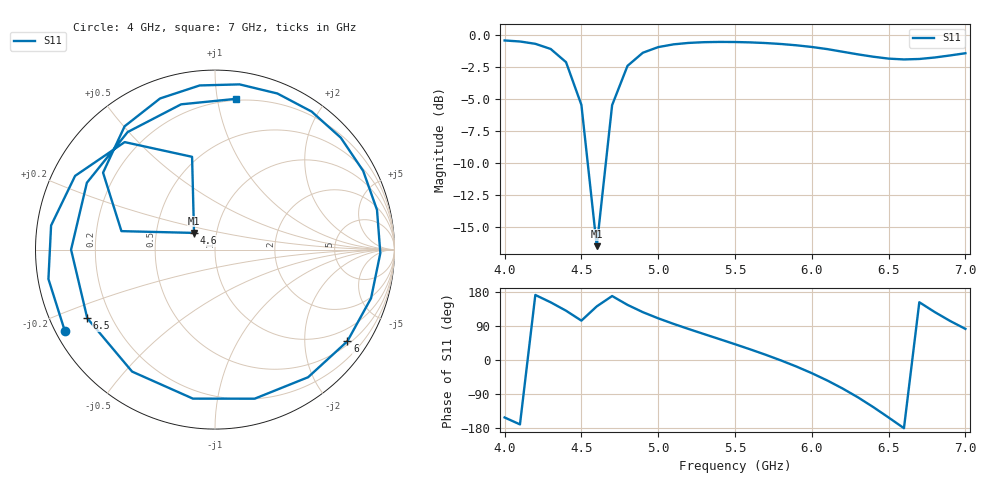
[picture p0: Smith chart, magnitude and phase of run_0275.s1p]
! Touchstone file exported from HFSS 2024.2.0
!  File:  C:/Users/wsak9/Desktop/Sim Fast/Widenad Patch/WP_AI_V1_sweep.aedt
!  Generated:  02:34:22 AM Oct 14, 2026
!  Design:  A1_model
!  Project:  WP_AI_V1_sweep
!  Setup:  Setup1
!  Solution:  Sweep
! Variables:
!  Air_gap = 2.02mm
!  Curve_Amp1 = 1.87
!  Curve_len1 = 1
!  Curve_pos = 12.025mm
!  Extra = 4.42mm
!  H_sub = 0.79mm
!  L_Patch = 20.05mm
!  L_Patch1 = 13.6mm
!  Sx = 1.57mm
!  Sy = 3.95mm
!  WS = 0.8mm
!  W_Patch = 21.9mm
!  W_Patch1 = 9.18mm
!Data is not renormalized
# GHz S MA
! Terminal data exported
! Port[1] = 1
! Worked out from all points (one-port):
!   31 points, 4 GHz to 7 GHz, reference per port
!   lowest |S11| = -16.5 dB at 4.6 GHz (marker M1), VSWR 1.35
!   |S11| at or under -10 dB: 4.541 GHz to 4.659 GHz (118.1 MHz wide, 2.57 % of centre)
!   S11 on the Smith chart (normalised r, x): 4 GHz: 0.03, -0.25; 4.6 GHz: 0.78, +0.15; 6 GHz: 0.59, -3.10; 6.5 GHz: 0.11, -0.25; 7 GHz: 0.19, +1.13
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4  0.9513 -151.7
4.1  0.9424 -170.0
4.2  0.923 171.6
4.3  0.8811 152.2
4.4  0.7824 130.0
4.5  0.5325 103.9
4.6  0.1493 141.5
4.7  0.5314 168.8
4.8  0.7567 145.5
4.9  0.8518 126.2
5  0.896 110.0
5.2  0.9306 81.6
5.3  0.9366 68.2
5.5  0.938 41.7
5.7  0.9293 13.8
5.8  0.9213 -1.2
5.9  0.9107 -17.3
6  0.897 -34.7
6.1  0.8801 -53.9
6.2  0.8595 -75.1
6.3  0.8394 -98.4
6.4  0.8217 -124.2
6.5  0.8078 -151.7
6.6  0.8019 -180.0
6.7  0.8051 152.4
6.8  0.8159 126.6
6.9  0.8311 103.1
7  0.8479 82.1
